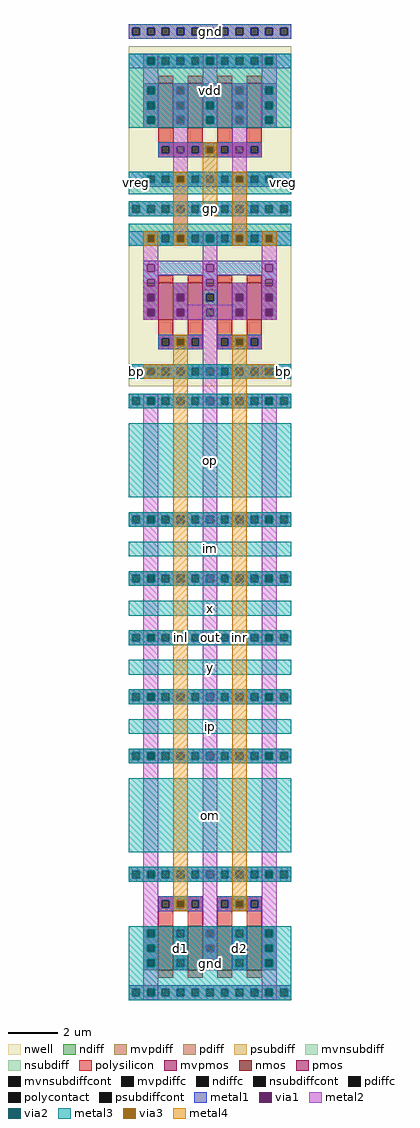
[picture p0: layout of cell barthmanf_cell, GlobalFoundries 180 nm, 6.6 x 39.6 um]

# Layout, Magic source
magic
tech gf180mcuC
<< nwell >>
rect -720 522 -588 642
rect -720 366 -588 498
<< nmos >>
rect -696 -108 -684 -72
rect -672 -108 -660 -72
rect -648 -108 -636 -72
rect -624 -108 -612 -72
<< pmos >>
rect -696 420 -684 450
rect -672 420 -660 450
rect -648 420 -636 450
rect -624 420 -612 450
<< mvpmos >>
rect -696 576 -684 612
rect -672 576 -660 612
rect -648 576 -636 612
rect -624 576 -612 612
<< ndiff >>
rect -708 -75 -696 -72
rect -708 -81 -705 -75
rect -699 -81 -696 -75
rect -708 -87 -696 -81
rect -708 -93 -705 -87
rect -699 -93 -696 -87
rect -708 -99 -696 -93
rect -708 -105 -705 -99
rect -699 -105 -696 -99
rect -708 -108 -696 -105
rect -684 -75 -672 -72
rect -684 -81 -681 -75
rect -675 -81 -672 -75
rect -684 -87 -672 -81
rect -684 -93 -681 -87
rect -675 -93 -672 -87
rect -684 -99 -672 -93
rect -684 -105 -681 -99
rect -675 -105 -672 -99
rect -684 -108 -672 -105
rect -660 -75 -648 -72
rect -660 -81 -657 -75
rect -651 -81 -648 -75
rect -660 -87 -648 -81
rect -660 -93 -657 -87
rect -651 -93 -648 -87
rect -660 -99 -648 -93
rect -660 -105 -657 -99
rect -651 -105 -648 -99
rect -660 -108 -648 -105
rect -636 -75 -624 -72
rect -636 -81 -633 -75
rect -627 -81 -624 -75
rect -636 -87 -624 -81
rect -636 -93 -633 -87
rect -627 -93 -624 -87
rect -636 -99 -624 -93
rect -636 -105 -633 -99
rect -627 -105 -624 -99
rect -636 -108 -624 -105
rect -612 -75 -600 -72
rect -612 -81 -609 -75
rect -603 -81 -600 -75
rect -612 -87 -600 -81
rect -612 -93 -609 -87
rect -603 -93 -600 -87
rect -612 -99 -600 -93
rect -612 -105 -609 -99
rect -603 -105 -600 -99
rect -612 -108 -600 -105
<< pdiff >>
rect -708 441 -696 450
rect -708 435 -705 441
rect -699 435 -696 441
rect -708 429 -696 435
rect -708 423 -705 429
rect -699 423 -696 429
rect -708 420 -696 423
rect -684 441 -672 450
rect -684 435 -681 441
rect -675 435 -672 441
rect -684 429 -672 435
rect -684 423 -681 429
rect -675 423 -672 429
rect -684 420 -672 423
rect -660 441 -648 450
rect -660 435 -657 441
rect -651 435 -648 441
rect -660 429 -648 435
rect -660 423 -657 429
rect -651 423 -648 429
rect -660 420 -648 423
rect -636 441 -624 450
rect -636 435 -633 441
rect -627 435 -624 441
rect -636 429 -624 435
rect -636 423 -633 429
rect -627 423 -624 429
rect -636 420 -624 423
rect -612 441 -600 450
rect -612 435 -609 441
rect -603 435 -600 441
rect -612 429 -600 435
rect -612 423 -609 429
rect -603 423 -600 429
rect -612 420 -600 423
<< mvpdiff >>
rect -708 609 -696 612
rect -708 603 -705 609
rect -699 603 -696 609
rect -708 597 -696 603
rect -708 591 -705 597
rect -699 591 -696 597
rect -708 585 -696 591
rect -708 579 -705 585
rect -699 579 -696 585
rect -708 576 -696 579
rect -684 609 -672 612
rect -684 603 -681 609
rect -675 603 -672 609
rect -684 597 -672 603
rect -684 591 -681 597
rect -675 591 -672 597
rect -684 585 -672 591
rect -684 579 -681 585
rect -675 579 -672 585
rect -684 576 -672 579
rect -660 609 -648 612
rect -660 603 -657 609
rect -651 603 -648 609
rect -660 597 -648 603
rect -660 591 -657 597
rect -651 591 -648 597
rect -660 585 -648 591
rect -660 579 -657 585
rect -651 579 -648 585
rect -660 576 -648 579
rect -636 609 -624 612
rect -636 603 -633 609
rect -627 603 -624 609
rect -636 597 -624 603
rect -636 591 -633 597
rect -627 591 -624 597
rect -636 585 -624 591
rect -636 579 -633 585
rect -627 579 -624 585
rect -636 576 -624 579
rect -612 609 -600 612
rect -612 603 -609 609
rect -603 603 -600 609
rect -612 597 -600 603
rect -612 591 -609 597
rect -603 591 -600 597
rect -612 585 -600 591
rect -612 579 -609 585
rect -603 579 -600 585
rect -612 576 -600 579
<< ndiffc >>
rect -705 -81 -699 -75
rect -705 -93 -699 -87
rect -705 -105 -699 -99
rect -681 -81 -675 -75
rect -681 -93 -675 -87
rect -681 -105 -675 -99
rect -657 -81 -651 -75
rect -657 -93 -651 -87
rect -657 -105 -651 -99
rect -633 -81 -627 -75
rect -633 -93 -627 -87
rect -633 -105 -627 -99
rect -609 -81 -603 -75
rect -609 -93 -603 -87
rect -609 -105 -603 -99
<< pdiffc >>
rect -705 435 -699 441
rect -705 423 -699 429
rect -681 435 -675 441
rect -681 423 -675 429
rect -657 435 -651 441
rect -657 423 -651 429
rect -633 435 -627 441
rect -633 423 -627 429
rect -609 435 -603 441
rect -609 423 -603 429
<< mvpdiffc >>
rect -705 603 -699 609
rect -705 591 -699 597
rect -705 579 -699 585
rect -681 603 -675 609
rect -681 591 -675 597
rect -681 579 -675 585
rect -657 603 -651 609
rect -657 591 -651 597
rect -657 579 -651 585
rect -633 603 -627 609
rect -633 591 -627 597
rect -633 579 -627 585
rect -609 603 -603 609
rect -609 591 -603 597
rect -609 579 -603 585
<< psubdiff >>
rect -720 657 -588 660
rect -720 651 -717 657
rect -711 651 -705 657
rect -699 651 -693 657
rect -687 651 -681 657
rect -675 651 -669 657
rect -663 651 -657 657
rect -651 651 -645 657
rect -639 651 -633 657
rect -627 651 -621 657
rect -615 651 -609 657
rect -603 651 -597 657
rect -591 651 -588 657
rect -720 648 -588 651
rect -720 513 -588 516
rect -720 507 -717 513
rect -711 507 -705 513
rect -699 507 -693 513
rect -687 507 -681 513
rect -675 507 -669 513
rect -663 507 -657 513
rect -651 507 -645 513
rect -639 507 -633 513
rect -627 507 -621 513
rect -615 507 -609 513
rect -603 507 -597 513
rect -591 507 -588 513
rect -720 504 -588 507
rect -720 357 -588 360
rect -720 351 -717 357
rect -711 351 -705 357
rect -699 351 -693 357
rect -687 351 -681 357
rect -675 351 -669 357
rect -663 351 -657 357
rect -651 351 -645 357
rect -639 351 -633 357
rect -627 351 -621 357
rect -615 351 -609 357
rect -603 351 -597 357
rect -591 351 -588 357
rect -720 348 -588 351
rect -720 261 -588 264
rect -720 255 -717 261
rect -711 255 -705 261
rect -699 255 -693 261
rect -687 255 -681 261
rect -675 255 -669 261
rect -663 255 -657 261
rect -651 255 -645 261
rect -639 255 -633 261
rect -627 255 -621 261
rect -615 255 -609 261
rect -603 255 -597 261
rect -591 255 -588 261
rect -720 252 -588 255
rect -720 213 -588 216
rect -720 207 -717 213
rect -711 207 -705 213
rect -699 207 -693 213
rect -687 207 -681 213
rect -675 207 -669 213
rect -663 207 -657 213
rect -651 207 -645 213
rect -639 207 -633 213
rect -627 207 -621 213
rect -615 207 -609 213
rect -603 207 -597 213
rect -591 207 -588 213
rect -720 204 -588 207
rect -720 165 -588 168
rect -720 159 -717 165
rect -711 159 -705 165
rect -699 159 -693 165
rect -687 159 -681 165
rect -675 159 -669 165
rect -663 159 -657 165
rect -651 159 -645 165
rect -639 159 -633 165
rect -627 159 -621 165
rect -615 159 -609 165
rect -603 159 -597 165
rect -591 159 -588 165
rect -720 156 -588 159
rect -720 117 -588 120
rect -720 111 -717 117
rect -711 111 -705 117
rect -699 111 -693 117
rect -687 111 -681 117
rect -675 111 -669 117
rect -663 111 -657 117
rect -651 111 -645 117
rect -639 111 -633 117
rect -627 111 -621 117
rect -615 111 -609 117
rect -603 111 -597 117
rect -591 111 -588 117
rect -720 108 -588 111
rect -720 69 -588 72
rect -720 63 -717 69
rect -711 63 -705 69
rect -699 63 -693 69
rect -687 63 -681 69
rect -675 63 -669 69
rect -663 63 -657 69
rect -651 63 -645 69
rect -639 63 -633 69
rect -627 63 -621 69
rect -615 63 -609 69
rect -603 63 -597 69
rect -591 63 -588 69
rect -720 60 -588 63
rect -720 -27 -588 -24
rect -720 -33 -717 -27
rect -711 -33 -705 -27
rect -699 -33 -693 -27
rect -687 -33 -681 -27
rect -675 -33 -669 -27
rect -663 -33 -657 -27
rect -651 -33 -645 -27
rect -639 -33 -633 -27
rect -627 -33 -621 -27
rect -615 -33 -609 -27
rect -603 -33 -597 -27
rect -591 -33 -588 -27
rect -720 -36 -588 -33
rect -720 -123 -588 -120
rect -720 -129 -717 -123
rect -711 -129 -705 -123
rect -699 -129 -693 -123
rect -687 -129 -681 -123
rect -675 -129 -669 -123
rect -663 -129 -657 -123
rect -651 -129 -645 -123
rect -639 -129 -633 -123
rect -627 -129 -621 -123
rect -615 -129 -609 -123
rect -603 -129 -597 -123
rect -591 -129 -588 -123
rect -720 -132 -588 -129
<< nsubdiff >>
rect -708 489 -600 492
rect -708 483 -705 489
rect -699 483 -693 489
rect -687 483 -681 489
rect -675 483 -669 489
rect -663 483 -657 489
rect -651 483 -645 489
rect -639 483 -633 489
rect -627 483 -621 489
rect -615 483 -609 489
rect -603 483 -600 489
rect -708 480 -600 483
rect -708 381 -600 384
rect -708 375 -705 381
rect -699 375 -693 381
rect -687 375 -681 381
rect -675 375 -669 381
rect -663 375 -657 381
rect -651 375 -645 381
rect -639 375 -633 381
rect -627 375 -621 381
rect -615 375 -609 381
rect -603 375 -600 381
rect -708 372 -600 375
<< mvnsubdiff >>
rect -708 633 -600 636
rect -708 627 -705 633
rect -699 627 -693 633
rect -687 627 -681 633
rect -675 627 -669 633
rect -663 627 -657 633
rect -651 627 -645 633
rect -639 627 -633 633
rect -627 627 -621 633
rect -615 627 -609 633
rect -603 627 -600 633
rect -708 624 -600 627
rect -708 537 -600 540
rect -708 531 -705 537
rect -699 531 -693 537
rect -687 531 -681 537
rect -675 531 -669 537
rect -663 531 -657 537
rect -651 531 -645 537
rect -639 531 -633 537
rect -627 531 -621 537
rect -615 531 -609 537
rect -603 531 -600 537
rect -708 528 -600 531
<< psubdiffcont >>
rect -717 651 -711 657
rect -705 651 -699 657
rect -693 651 -687 657
rect -681 651 -675 657
rect -669 651 -663 657
rect -657 651 -651 657
rect -645 651 -639 657
rect -633 651 -627 657
rect -621 651 -615 657
rect -609 651 -603 657
rect -597 651 -591 657
rect -717 507 -711 513
rect -705 507 -699 513
rect -693 507 -687 513
rect -681 507 -675 513
rect -669 507 -663 513
rect -657 507 -651 513
rect -645 507 -639 513
rect -633 507 -627 513
rect -621 507 -615 513
rect -609 507 -603 513
rect -597 507 -591 513
rect -717 351 -711 357
rect -705 351 -699 357
rect -693 351 -687 357
rect -681 351 -675 357
rect -669 351 -663 357
rect -657 351 -651 357
rect -645 351 -639 357
rect -633 351 -627 357
rect -621 351 -615 357
rect -609 351 -603 357
rect -597 351 -591 357
rect -717 255 -711 261
rect -705 255 -699 261
rect -693 255 -687 261
rect -681 255 -675 261
rect -669 255 -663 261
rect -657 255 -651 261
rect -645 255 -639 261
rect -633 255 -627 261
rect -621 255 -615 261
rect -609 255 -603 261
rect -597 255 -591 261
rect -717 207 -711 213
rect -705 207 -699 213
rect -693 207 -687 213
rect -681 207 -675 213
rect -669 207 -663 213
rect -657 207 -651 213
rect -645 207 -639 213
rect -633 207 -627 213
rect -621 207 -615 213
rect -609 207 -603 213
rect -597 207 -591 213
rect -717 159 -711 165
rect -705 159 -699 165
rect -693 159 -687 165
rect -681 159 -675 165
rect -669 159 -663 165
rect -657 159 -651 165
rect -645 159 -639 165
rect -633 159 -627 165
rect -621 159 -615 165
rect -609 159 -603 165
rect -597 159 -591 165
rect -717 111 -711 117
rect -705 111 -699 117
rect -693 111 -687 117
rect -681 111 -675 117
rect -669 111 -663 117
rect -657 111 -651 117
rect -645 111 -639 117
rect -633 111 -627 117
rect -621 111 -615 117
rect -609 111 -603 117
rect -597 111 -591 117
rect -717 63 -711 69
rect -705 63 -699 69
rect -693 63 -687 69
rect -681 63 -675 69
rect -669 63 -663 69
rect -657 63 -651 69
rect -645 63 -639 69
rect -633 63 -627 69
rect -621 63 -615 69
rect -609 63 -603 69
rect -597 63 -591 69
rect -717 -33 -711 -27
rect -705 -33 -699 -27
rect -693 -33 -687 -27
rect -681 -33 -675 -27
rect -669 -33 -663 -27
rect -657 -33 -651 -27
rect -645 -33 -639 -27
rect -633 -33 -627 -27
rect -621 -33 -615 -27
rect -609 -33 -603 -27
rect -597 -33 -591 -27
rect -717 -129 -711 -123
rect -705 -129 -699 -123
rect -693 -129 -687 -123
rect -681 -129 -675 -123
rect -669 -129 -663 -123
rect -657 -129 -651 -123
rect -645 -129 -639 -123
rect -633 -129 -627 -123
rect -621 -129 -615 -123
rect -609 -129 -603 -123
rect -597 -129 -591 -123
<< nsubdiffcont >>
rect -705 483 -699 489
rect -693 483 -687 489
rect -681 483 -675 489
rect -669 483 -663 489
rect -657 483 -651 489
rect -645 483 -639 489
rect -633 483 -627 489
rect -621 483 -615 489
rect -609 483 -603 489
rect -705 375 -699 381
rect -693 375 -687 381
rect -681 375 -675 381
rect -669 375 -663 381
rect -657 375 -651 381
rect -645 375 -639 381
rect -633 375 -627 381
rect -621 375 -615 381
rect -609 375 -603 381
<< mvnsubdiffcont >>
rect -705 627 -699 633
rect -693 627 -687 633
rect -681 627 -675 633
rect -669 627 -663 633
rect -657 627 -651 633
rect -645 627 -639 633
rect -633 627 -627 633
rect -621 627 -615 633
rect -609 627 -603 633
rect -705 531 -699 537
rect -693 531 -687 537
rect -681 531 -675 537
rect -669 531 -663 537
rect -657 531 -651 537
rect -645 531 -639 537
rect -633 531 -627 537
rect -621 531 -615 537
rect -609 531 -603 537
<< polysilicon >>
rect -696 612 -684 618
rect -672 612 -660 618
rect -648 612 -636 618
rect -624 612 -612 618
rect -696 564 -684 576
rect -672 564 -660 576
rect -648 564 -636 576
rect -624 564 -612 576
rect -696 561 -612 564
rect -696 555 -693 561
rect -687 555 -681 561
rect -675 555 -669 561
rect -663 555 -657 561
rect -651 555 -645 561
rect -639 555 -633 561
rect -627 555 -621 561
rect -615 555 -612 561
rect -696 552 -612 555
rect -696 450 -684 456
rect -672 450 -660 456
rect -648 450 -636 456
rect -624 450 -612 456
rect -696 408 -684 420
rect -672 408 -660 420
rect -696 405 -660 408
rect -696 399 -693 405
rect -687 399 -681 405
rect -675 399 -669 405
rect -663 399 -660 405
rect -696 396 -660 399
rect -648 408 -636 420
rect -624 408 -612 420
rect -648 405 -612 408
rect -648 399 -645 405
rect -639 399 -633 405
rect -627 399 -621 405
rect -615 399 -612 405
rect -648 396 -612 399
rect -696 -51 -660 -48
rect -696 -57 -693 -51
rect -687 -57 -681 -51
rect -675 -57 -669 -51
rect -663 -57 -660 -51
rect -696 -60 -660 -57
rect -696 -72 -684 -60
rect -672 -72 -660 -60
rect -648 -51 -612 -48
rect -648 -57 -645 -51
rect -639 -57 -633 -51
rect -627 -57 -621 -51
rect -615 -57 -612 -51
rect -648 -60 -612 -57
rect -648 -72 -636 -60
rect -624 -72 -612 -60
rect -696 -114 -684 -108
rect -672 -114 -660 -108
rect -648 -114 -636 -108
rect -624 -114 -612 -108
<< polycontact >>
rect -693 555 -687 561
rect -681 555 -675 561
rect -669 555 -663 561
rect -657 555 -651 561
rect -645 555 -639 561
rect -633 555 -627 561
rect -621 555 -615 561
rect -693 399 -687 405
rect -681 399 -675 405
rect -669 399 -663 405
rect -645 399 -639 405
rect -633 399 -627 405
rect -621 399 -615 405
rect -693 -57 -687 -51
rect -681 -57 -675 -51
rect -669 -57 -663 -51
rect -645 -57 -639 -51
rect -633 -57 -627 -51
rect -621 -57 -615 -51
<< metal1 >>
rect -720 657 -588 660
rect -720 651 -717 657
rect -711 651 -705 657
rect -699 651 -693 657
rect -687 651 -681 657
rect -675 651 -669 657
rect -663 651 -657 657
rect -651 651 -645 657
rect -639 651 -633 657
rect -627 651 -621 657
rect -615 651 -609 657
rect -603 651 -597 657
rect -591 651 -588 657
rect -720 648 -588 651
rect -720 633 -588 636
rect -720 627 -705 633
rect -699 627 -693 633
rect -687 627 -681 633
rect -675 627 -669 633
rect -663 627 -657 633
rect -651 627 -645 633
rect -639 627 -633 633
rect -627 627 -621 633
rect -615 627 -609 633
rect -603 627 -588 633
rect -720 624 -588 627
rect -708 609 -696 612
rect -708 603 -705 609
rect -699 603 -696 609
rect -708 597 -696 603
rect -708 591 -705 597
rect -699 591 -696 597
rect -708 585 -696 591
rect -708 579 -705 585
rect -699 579 -696 585
rect -708 576 -696 579
rect -684 609 -672 612
rect -684 603 -681 609
rect -675 603 -672 609
rect -684 597 -672 603
rect -684 591 -681 597
rect -675 591 -672 597
rect -684 585 -672 591
rect -684 579 -681 585
rect -675 579 -672 585
rect -684 576 -672 579
rect -660 609 -648 612
rect -660 603 -657 609
rect -651 603 -648 609
rect -660 597 -648 603
rect -660 591 -657 597
rect -651 591 -648 597
rect -660 585 -648 591
rect -660 579 -657 585
rect -651 579 -648 585
rect -660 576 -648 579
rect -636 609 -624 612
rect -636 603 -633 609
rect -627 603 -624 609
rect -636 597 -624 603
rect -636 591 -633 597
rect -627 591 -624 597
rect -636 585 -624 591
rect -636 579 -633 585
rect -627 579 -624 585
rect -636 576 -624 579
rect -612 609 -600 612
rect -612 603 -609 609
rect -603 603 -600 609
rect -612 597 -600 603
rect -612 591 -609 597
rect -603 591 -600 597
rect -612 585 -600 591
rect -612 579 -609 585
rect -603 579 -600 585
rect -612 576 -600 579
rect -696 561 -612 564
rect -696 555 -693 561
rect -687 555 -681 561
rect -675 555 -669 561
rect -663 555 -657 561
rect -651 555 -645 561
rect -639 555 -633 561
rect -627 555 -621 561
rect -615 555 -612 561
rect -696 552 -612 555
rect -720 537 -588 540
rect -720 531 -705 537
rect -699 531 -693 537
rect -687 531 -681 537
rect -675 531 -669 537
rect -663 531 -657 537
rect -651 531 -645 537
rect -639 531 -633 537
rect -627 531 -621 537
rect -615 531 -609 537
rect -603 531 -588 537
rect -720 528 -588 531
rect -720 513 -588 516
rect -720 507 -717 513
rect -711 507 -705 513
rect -699 507 -693 513
rect -687 507 -681 513
rect -675 507 -669 513
rect -663 507 -657 513
rect -651 507 -645 513
rect -639 507 -633 513
rect -627 507 -621 513
rect -615 507 -609 513
rect -603 507 -597 513
rect -591 507 -588 513
rect -720 504 -588 507
rect -720 489 -588 492
rect -720 483 -705 489
rect -699 483 -693 489
rect -687 483 -681 489
rect -675 483 -669 489
rect -663 483 -657 489
rect -651 483 -645 489
rect -639 483 -633 489
rect -627 483 -621 489
rect -615 483 -609 489
rect -603 483 -588 489
rect -720 480 -588 483
rect -708 465 -600 468
rect -708 459 -705 465
rect -699 459 -657 465
rect -651 459 -609 465
rect -603 459 -600 465
rect -708 456 -600 459
rect -708 453 -696 456
rect -708 447 -705 453
rect -699 447 -696 453
rect -660 453 -648 456
rect -708 441 -696 447
rect -708 435 -705 441
rect -699 435 -696 441
rect -708 429 -696 435
rect -708 423 -705 429
rect -699 423 -696 429
rect -708 420 -696 423
rect -684 441 -672 450
rect -684 435 -681 441
rect -675 435 -672 441
rect -684 429 -672 435
rect -684 423 -681 429
rect -675 423 -672 429
rect -684 420 -672 423
rect -660 447 -657 453
rect -651 447 -648 453
rect -612 453 -600 456
rect -660 441 -648 447
rect -660 435 -657 441
rect -651 435 -648 441
rect -660 429 -648 435
rect -660 423 -657 429
rect -651 423 -648 429
rect -660 420 -648 423
rect -636 441 -624 450
rect -636 435 -633 441
rect -627 435 -624 441
rect -636 429 -624 435
rect -636 423 -633 429
rect -627 423 -624 429
rect -636 420 -624 423
rect -612 447 -609 453
rect -603 447 -600 453
rect -612 441 -600 447
rect -612 435 -609 441
rect -603 435 -600 441
rect -612 429 -600 435
rect -612 423 -609 429
rect -603 423 -600 429
rect -612 420 -600 423
rect -696 405 -660 408
rect -696 399 -693 405
rect -687 399 -681 405
rect -675 399 -669 405
rect -663 399 -660 405
rect -696 396 -660 399
rect -648 405 -612 408
rect -648 399 -645 405
rect -639 399 -633 405
rect -627 399 -621 405
rect -615 399 -612 405
rect -648 396 -612 399
rect -720 381 -588 384
rect -720 375 -705 381
rect -699 375 -693 381
rect -687 375 -681 381
rect -675 375 -669 381
rect -663 375 -657 381
rect -651 375 -645 381
rect -639 375 -633 381
rect -627 375 -621 381
rect -615 375 -609 381
rect -603 375 -588 381
rect -720 372 -588 375
rect -720 357 -588 360
rect -720 351 -717 357
rect -711 351 -705 357
rect -699 351 -693 357
rect -687 351 -681 357
rect -675 351 -669 357
rect -663 351 -657 357
rect -651 351 -645 357
rect -639 351 -633 357
rect -627 351 -621 357
rect -615 351 -609 357
rect -603 351 -597 357
rect -591 351 -588 357
rect -720 348 -588 351
rect -720 261 -588 264
rect -720 255 -717 261
rect -711 255 -705 261
rect -699 255 -693 261
rect -687 255 -681 261
rect -675 255 -669 261
rect -663 255 -657 261
rect -651 255 -645 261
rect -639 255 -633 261
rect -627 255 -621 261
rect -615 255 -609 261
rect -603 255 -597 261
rect -591 255 -588 261
rect -720 252 -588 255
rect -720 213 -588 216
rect -720 207 -717 213
rect -711 207 -705 213
rect -699 207 -693 213
rect -687 207 -681 213
rect -675 207 -669 213
rect -663 207 -657 213
rect -651 207 -645 213
rect -639 207 -633 213
rect -627 207 -621 213
rect -615 207 -609 213
rect -603 207 -597 213
rect -591 207 -588 213
rect -720 204 -588 207
rect -720 165 -588 168
rect -720 159 -717 165
rect -711 159 -705 165
rect -699 159 -693 165
rect -687 159 -681 165
rect -675 159 -669 165
rect -663 159 -657 165
rect -651 159 -645 165
rect -639 159 -633 165
rect -627 159 -621 165
rect -615 159 -609 165
rect -603 159 -597 165
rect -591 159 -588 165
rect -720 156 -588 159
rect -720 117 -588 120
rect -720 111 -717 117
rect -711 111 -705 117
rect -699 111 -693 117
rect -687 111 -681 117
rect -675 111 -669 117
rect -663 111 -657 117
rect -651 111 -645 117
rect -639 111 -633 117
rect -627 111 -621 117
rect -615 111 -609 117
rect -603 111 -597 117
rect -591 111 -588 117
rect -720 108 -588 111
rect -720 69 -588 72
rect -720 63 -717 69
rect -711 63 -705 69
rect -699 63 -693 69
rect -687 63 -681 69
rect -675 63 -669 69
rect -663 63 -657 69
rect -651 63 -645 69
rect -639 63 -633 69
rect -627 63 -621 69
rect -615 63 -609 69
rect -603 63 -597 69
rect -591 63 -588 69
rect -720 60 -588 63
rect -720 -27 -588 -24
rect -720 -33 -717 -27
rect -711 -33 -705 -27
rect -699 -33 -693 -27
rect -687 -33 -681 -27
rect -675 -33 -669 -27
rect -663 -33 -657 -27
rect -651 -33 -645 -27
rect -639 -33 -633 -27
rect -627 -33 -621 -27
rect -615 -33 -609 -27
rect -603 -33 -597 -27
rect -591 -33 -588 -27
rect -720 -36 -588 -33
rect -696 -51 -660 -48
rect -696 -57 -693 -51
rect -687 -57 -681 -51
rect -675 -57 -669 -51
rect -663 -57 -660 -51
rect -696 -60 -660 -57
rect -648 -51 -612 -48
rect -648 -57 -645 -51
rect -639 -57 -633 -51
rect -627 -57 -621 -51
rect -615 -57 -612 -51
rect -648 -60 -612 -57
rect -708 -75 -696 -72
rect -708 -81 -705 -75
rect -699 -81 -696 -75
rect -708 -87 -696 -81
rect -708 -93 -705 -87
rect -699 -93 -696 -87
rect -708 -99 -696 -93
rect -708 -105 -705 -99
rect -699 -105 -696 -99
rect -708 -108 -696 -105
rect -684 -75 -672 -72
rect -684 -81 -681 -75
rect -675 -81 -672 -75
rect -684 -87 -672 -81
rect -684 -93 -681 -87
rect -675 -93 -672 -87
rect -684 -99 -672 -93
rect -684 -105 -681 -99
rect -675 -105 -672 -99
rect -684 -108 -672 -105
rect -660 -75 -648 -72
rect -660 -81 -657 -75
rect -651 -81 -648 -75
rect -660 -87 -648 -81
rect -660 -93 -657 -87
rect -651 -93 -648 -87
rect -660 -99 -648 -93
rect -660 -105 -657 -99
rect -651 -105 -648 -99
rect -660 -108 -648 -105
rect -636 -75 -624 -72
rect -636 -81 -633 -75
rect -627 -81 -624 -75
rect -636 -87 -624 -81
rect -636 -93 -633 -87
rect -627 -93 -624 -87
rect -636 -99 -624 -93
rect -636 -105 -633 -99
rect -627 -105 -624 -99
rect -636 -108 -624 -105
rect -612 -75 -600 -72
rect -612 -81 -609 -75
rect -603 -81 -600 -75
rect -612 -87 -600 -81
rect -612 -93 -609 -87
rect -603 -93 -600 -87
rect -612 -99 -600 -93
rect -612 -105 -609 -99
rect -603 -105 -600 -99
rect -612 -108 -600 -105
rect -720 -123 -588 -120
rect -720 -129 -717 -123
rect -711 -129 -705 -123
rect -699 -129 -693 -123
rect -687 -129 -681 -123
rect -675 -129 -669 -123
rect -663 -129 -657 -123
rect -651 -129 -645 -123
rect -639 -129 -633 -123
rect -627 -129 -621 -123
rect -615 -129 -609 -123
rect -603 -129 -597 -123
rect -591 -129 -588 -123
rect -720 -132 -588 -129
<< via1 >>
rect -705 627 -699 633
rect -657 627 -651 633
rect -609 627 -603 633
rect -705 603 -699 609
rect -705 591 -699 597
rect -705 579 -699 585
rect -681 603 -675 609
rect -681 591 -675 597
rect -681 579 -675 585
rect -657 603 -651 609
rect -657 591 -651 597
rect -657 579 -651 585
rect -633 603 -627 609
rect -633 591 -627 597
rect -633 579 -627 585
rect -609 603 -603 609
rect -609 591 -603 597
rect -609 579 -603 585
rect -657 555 -651 561
rect -705 459 -699 465
rect -657 459 -651 465
rect -609 459 -603 465
rect -705 447 -699 453
rect -705 435 -699 441
rect -705 423 -699 429
rect -681 435 -675 441
rect -681 423 -675 429
rect -657 447 -651 453
rect -633 435 -627 441
rect -633 423 -627 429
rect -609 447 -603 453
rect -609 435 -603 441
rect -609 423 -603 429
rect -681 399 -675 405
rect -633 399 -627 405
rect -705 375 -699 381
rect -609 375 -603 381
rect -705 351 -699 357
rect -609 351 -603 357
rect -705 255 -699 261
rect -609 255 -603 261
rect -705 207 -699 213
rect -609 207 -603 213
rect -705 159 -699 165
rect -609 159 -603 165
rect -705 111 -699 117
rect -609 111 -603 117
rect -705 63 -699 69
rect -609 63 -603 69
rect -705 -33 -699 -27
rect -609 -33 -603 -27
rect -681 -57 -675 -51
rect -633 -57 -627 -51
rect -705 -81 -699 -75
rect -705 -93 -699 -87
rect -705 -105 -699 -99
rect -657 -81 -651 -75
rect -657 -93 -651 -87
rect -657 -105 -651 -99
rect -609 -81 -603 -75
rect -609 -93 -603 -87
rect -609 -105 -603 -99
rect -705 -129 -699 -123
rect -609 -129 -603 -123
<< metal2 >>
rect -708 633 -696 636
rect -708 627 -705 633
rect -699 627 -696 633
rect -708 609 -696 627
rect -660 633 -648 636
rect -660 627 -657 633
rect -651 627 -648 633
rect -708 603 -705 609
rect -699 603 -696 609
rect -708 597 -696 603
rect -708 591 -705 597
rect -699 591 -696 597
rect -708 585 -696 591
rect -708 579 -705 585
rect -699 579 -696 585
rect -708 576 -696 579
rect -684 609 -672 612
rect -684 603 -681 609
rect -675 603 -672 609
rect -684 597 -672 603
rect -684 591 -681 597
rect -675 591 -672 597
rect -684 585 -672 591
rect -684 579 -681 585
rect -675 579 -672 585
rect -684 537 -672 579
rect -660 609 -648 627
rect -612 633 -600 636
rect -612 627 -609 633
rect -603 627 -600 633
rect -660 603 -657 609
rect -651 603 -648 609
rect -660 597 -648 603
rect -660 591 -657 597
rect -651 591 -648 597
rect -660 585 -648 591
rect -660 579 -657 585
rect -651 579 -648 585
rect -660 576 -648 579
rect -636 609 -624 612
rect -636 603 -633 609
rect -627 603 -624 609
rect -636 597 -624 603
rect -636 591 -633 597
rect -627 591 -624 597
rect -636 585 -624 591
rect -636 579 -633 585
rect -627 579 -624 585
rect -660 561 -648 564
rect -660 555 -657 561
rect -651 555 -648 561
rect -660 552 -648 555
rect -684 531 -681 537
rect -675 531 -672 537
rect -708 489 -696 492
rect -708 483 -705 489
rect -699 483 -696 489
rect -708 465 -696 483
rect -684 489 -672 531
rect -636 537 -624 579
rect -612 609 -600 627
rect -612 603 -609 609
rect -603 603 -600 609
rect -612 597 -600 603
rect -612 591 -609 597
rect -603 591 -600 597
rect -612 585 -600 591
rect -612 579 -609 585
rect -603 579 -600 585
rect -612 576 -600 579
rect -636 531 -633 537
rect -627 531 -624 537
rect -684 483 -681 489
rect -675 483 -672 489
rect -684 480 -672 483
rect -660 489 -648 492
rect -660 483 -657 489
rect -651 483 -648 489
rect -708 459 -705 465
rect -699 459 -696 465
rect -708 453 -696 459
rect -708 447 -705 453
rect -699 447 -696 453
rect -660 465 -648 483
rect -636 489 -624 531
rect -636 483 -633 489
rect -627 483 -624 489
rect -636 480 -624 483
rect -612 489 -600 492
rect -612 483 -609 489
rect -603 483 -600 489
rect -660 459 -657 465
rect -651 459 -648 465
rect -660 453 -648 459
rect -708 441 -696 447
rect -708 435 -705 441
rect -699 435 -696 441
rect -708 429 -696 435
rect -708 423 -705 429
rect -699 423 -696 429
rect -708 420 -696 423
rect -684 441 -672 450
rect -660 447 -657 453
rect -651 447 -648 453
rect -612 465 -600 483
rect -612 459 -609 465
rect -603 459 -600 465
rect -612 453 -600 459
rect -660 444 -648 447
rect -684 435 -681 441
rect -675 435 -672 441
rect -684 432 -672 435
rect -636 441 -624 450
rect -636 435 -633 441
rect -627 435 -624 441
rect -636 432 -624 435
rect -684 429 -624 432
rect -684 423 -681 429
rect -675 423 -633 429
rect -627 423 -624 429
rect -684 420 -624 423
rect -612 447 -609 453
rect -603 447 -600 453
rect -612 441 -600 447
rect -612 435 -609 441
rect -603 435 -600 441
rect -612 429 -600 435
rect -612 423 -609 429
rect -603 423 -600 429
rect -612 420 -600 423
rect -684 405 -672 408
rect -684 399 -681 405
rect -675 399 -672 405
rect -684 396 -672 399
rect -708 381 -696 384
rect -708 375 -705 381
rect -699 375 -696 381
rect -708 372 -696 375
rect -708 357 -696 360
rect -708 351 -705 357
rect -699 351 -696 357
rect -708 261 -696 351
rect -708 255 -705 261
rect -699 255 -696 261
rect -708 213 -696 255
rect -708 207 -705 213
rect -699 207 -696 213
rect -708 165 -696 207
rect -708 159 -705 165
rect -699 159 -696 165
rect -708 117 -696 159
rect -708 111 -705 117
rect -699 111 -696 117
rect -708 69 -696 111
rect -708 63 -705 69
rect -699 63 -696 69
rect -708 -27 -696 63
rect -708 -33 -705 -27
rect -699 -33 -696 -27
rect -708 -75 -696 -33
rect -684 -51 -672 -48
rect -684 -57 -681 -51
rect -675 -57 -672 -51
rect -684 -60 -672 -57
rect -708 -81 -705 -75
rect -699 -81 -696 -75
rect -708 -87 -696 -81
rect -708 -93 -705 -87
rect -699 -93 -696 -87
rect -708 -99 -696 -93
rect -708 -105 -705 -99
rect -699 -105 -696 -99
rect -708 -123 -696 -105
rect -660 -75 -648 420
rect -636 405 -624 408
rect -636 399 -633 405
rect -627 399 -624 405
rect -636 396 -624 399
rect -612 381 -600 384
rect -612 375 -609 381
rect -603 375 -600 381
rect -612 372 -600 375
rect -612 357 -600 360
rect -612 351 -609 357
rect -603 351 -600 357
rect -612 261 -600 351
rect -612 255 -609 261
rect -603 255 -600 261
rect -612 213 -600 255
rect -612 207 -609 213
rect -603 207 -600 213
rect -612 165 -600 207
rect -612 159 -609 165
rect -603 159 -600 165
rect -612 117 -600 159
rect -612 111 -609 117
rect -603 111 -600 117
rect -612 69 -600 111
rect -612 63 -609 69
rect -603 63 -600 69
rect -612 -27 -600 63
rect -612 -33 -609 -27
rect -603 -33 -600 -27
rect -636 -51 -624 -48
rect -636 -57 -633 -51
rect -627 -57 -624 -51
rect -636 -60 -624 -57
rect -660 -81 -657 -75
rect -651 -81 -648 -75
rect -660 -87 -648 -81
rect -660 -93 -657 -87
rect -651 -93 -648 -87
rect -660 -99 -648 -93
rect -660 -105 -657 -99
rect -651 -105 -648 -99
rect -660 -108 -648 -105
rect -612 -75 -600 -33
rect -612 -81 -609 -75
rect -603 -81 -600 -75
rect -612 -87 -600 -81
rect -612 -93 -609 -87
rect -603 -93 -600 -87
rect -612 -99 -600 -93
rect -612 -105 -609 -99
rect -603 -105 -600 -99
rect -708 -129 -705 -123
rect -699 -129 -696 -123
rect -708 -132 -696 -129
rect -612 -123 -600 -105
rect -612 -129 -609 -123
rect -603 -129 -600 -123
rect -612 -132 -600 -129
<< via2 >>
rect -705 627 -699 633
rect -657 627 -651 633
rect -705 603 -699 609
rect -705 591 -699 597
rect -705 579 -699 585
rect -609 627 -603 633
rect -657 603 -651 609
rect -657 591 -651 597
rect -657 579 -651 585
rect -657 555 -651 561
rect -681 531 -675 537
rect -705 483 -699 489
rect -609 603 -603 609
rect -609 591 -603 597
rect -609 579 -603 585
rect -633 531 -627 537
rect -681 483 -675 489
rect -657 483 -651 489
rect -633 483 -627 489
rect -609 483 -603 489
rect -681 399 -675 405
rect -705 375 -699 381
rect -705 351 -699 357
rect -705 255 -699 261
rect -705 207 -699 213
rect -705 159 -699 165
rect -705 111 -699 117
rect -705 63 -699 69
rect -705 -33 -699 -27
rect -681 -57 -675 -51
rect -705 -81 -699 -75
rect -705 -93 -699 -87
rect -705 -105 -699 -99
rect -633 399 -627 405
rect -609 375 -603 381
rect -609 351 -603 357
rect -609 255 -603 261
rect -609 207 -603 213
rect -609 159 -603 165
rect -609 111 -603 117
rect -609 63 -603 69
rect -609 -33 -603 -27
rect -633 -57 -627 -51
rect -609 -81 -603 -75
rect -609 -93 -603 -87
rect -609 -105 -603 -99
rect -705 -129 -699 -123
rect -609 -129 -603 -123
<< metal3 >>
rect -720 633 -588 636
rect -720 627 -705 633
rect -699 627 -657 633
rect -651 627 -609 633
rect -603 627 -588 633
rect -720 609 -588 627
rect -720 603 -705 609
rect -699 603 -657 609
rect -651 603 -609 609
rect -603 603 -588 609
rect -720 597 -588 603
rect -720 591 -705 597
rect -699 591 -657 597
rect -651 591 -609 597
rect -603 591 -588 597
rect -720 585 -588 591
rect -720 579 -705 585
rect -699 579 -657 585
rect -651 579 -609 585
rect -603 579 -588 585
rect -720 576 -588 579
rect -660 561 -648 564
rect -660 555 -657 561
rect -651 555 -648 561
rect -660 552 -648 555
rect -720 537 -588 540
rect -720 531 -681 537
rect -675 531 -633 537
rect -627 531 -588 537
rect -720 522 -588 531
rect -720 513 -588 516
rect -720 507 -657 513
rect -651 507 -588 513
rect -720 504 -588 507
rect -720 489 -588 498
rect -720 483 -705 489
rect -699 483 -681 489
rect -675 483 -657 489
rect -651 483 -633 489
rect -627 483 -609 489
rect -603 483 -588 489
rect -720 480 -588 483
rect -684 405 -672 408
rect -684 399 -681 405
rect -675 399 -672 405
rect -684 396 -672 399
rect -636 405 -624 408
rect -636 399 -633 405
rect -627 399 -624 405
rect -636 396 -624 399
rect -720 381 -588 384
rect -720 375 -705 381
rect -699 375 -609 381
rect -603 375 -588 381
rect -720 372 -588 375
rect -720 357 -588 360
rect -720 351 -705 357
rect -699 351 -609 357
rect -603 351 -588 357
rect -720 348 -588 351
rect -720 276 -588 336
rect -720 261 -588 264
rect -720 255 -705 261
rect -699 255 -609 261
rect -603 255 -588 261
rect -720 252 -588 255
rect -720 228 -588 240
rect -720 213 -588 216
rect -720 207 -705 213
rect -699 207 -609 213
rect -603 207 -588 213
rect -720 204 -588 207
rect -720 180 -588 192
rect -720 165 -588 168
rect -720 159 -705 165
rect -699 159 -609 165
rect -603 159 -588 165
rect -720 156 -588 159
rect -720 132 -588 144
rect -720 117 -588 120
rect -720 111 -705 117
rect -699 111 -609 117
rect -603 111 -588 117
rect -720 108 -588 111
rect -720 84 -588 96
rect -720 69 -588 72
rect -720 63 -705 69
rect -699 63 -609 69
rect -603 63 -588 69
rect -720 60 -588 63
rect -720 -12 -588 48
rect -720 -27 -588 -24
rect -720 -33 -705 -27
rect -699 -33 -609 -27
rect -603 -33 -588 -27
rect -720 -36 -588 -33
rect -684 -51 -672 -48
rect -684 -57 -681 -51
rect -675 -57 -672 -51
rect -684 -60 -672 -57
rect -636 -51 -624 -48
rect -636 -57 -633 -51
rect -627 -57 -624 -51
rect -636 -60 -624 -57
rect -720 -75 -588 -72
rect -720 -81 -705 -75
rect -699 -81 -609 -75
rect -603 -81 -588 -75
rect -720 -87 -588 -81
rect -720 -93 -705 -87
rect -699 -93 -609 -87
rect -603 -93 -588 -87
rect -720 -99 -588 -93
rect -720 -105 -705 -99
rect -699 -105 -609 -99
rect -603 -105 -588 -99
rect -720 -123 -588 -105
rect -720 -129 -705 -123
rect -699 -129 -609 -123
rect -603 -129 -588 -123
rect -720 -132 -588 -129
<< via3 >>
rect -657 555 -651 561
rect -681 531 -675 537
rect -633 531 -627 537
rect -657 507 -651 513
rect -705 483 -699 489
rect -681 483 -675 489
rect -633 483 -627 489
rect -609 483 -603 489
rect -681 399 -675 405
rect -633 399 -627 405
rect -681 -57 -675 -51
rect -633 -57 -627 -51
<< metal4 >>
rect -660 561 -648 564
rect -660 555 -657 561
rect -651 555 -648 561
rect -684 537 -672 540
rect -684 531 -681 537
rect -675 531 -672 537
rect -708 489 -696 492
rect -708 483 -705 489
rect -699 483 -696 489
rect -708 480 -696 483
rect -684 489 -672 531
rect -660 513 -648 555
rect -660 507 -657 513
rect -651 507 -648 513
rect -660 504 -648 507
rect -636 537 -624 540
rect -636 531 -633 537
rect -627 531 -624 537
rect -684 483 -681 489
rect -675 483 -672 489
rect -684 480 -672 483
rect -636 489 -624 531
rect -636 483 -633 489
rect -627 483 -624 489
rect -636 480 -624 483
rect -612 489 -600 492
rect -612 483 -609 489
rect -603 483 -600 489
rect -612 480 -600 483
rect -684 405 -672 408
rect -684 399 -681 405
rect -675 399 -672 405
rect -684 384 -672 399
rect -708 372 -672 384
rect -684 -51 -672 372
rect -684 -57 -681 -51
rect -675 -57 -672 -51
rect -684 -60 -672 -57
rect -636 405 -624 408
rect -636 399 -633 405
rect -627 399 -624 405
rect -636 384 -624 399
rect -636 372 -600 384
rect -636 -51 -624 372
rect -636 -57 -633 -51
rect -627 -57 -624 -51
rect -636 -60 -624 -57
<< labels >>
rlabel metal4 -684 -12 -672 336 0 inl
port 1 nsew
rlabel metal4 -636 -12 -624 336 0 inr
port 2 nsew
rlabel metal2 -660 -12 -648 336 0 out
port 3 nsew
rlabel metal3 -720 576 -588 636 0 vdd
port 4 nsew
rlabel metal3 -720 504 -588 516 0 gp
port 5 nsew
rlabel metal1 -720 372 -708 384 0 bp
port 6 nsew
rlabel metal1 -600 372 -588 384 0 bp
port 6 nsew
rlabel metal3 -720 522 -708 540 0 vreg
port 7 nsew
rlabel metal3 -600 522 -588 540 0 vreg
port 7 nsew
rlabel metal3 -720 276 -588 336 0 op
port 8 nsew
rlabel metal3 -720 228 -588 240 0 im
port 9 nsew
rlabel metal3 -720 180 -588 192 0 x
port 10 nsew
rlabel metal3 -720 132 -588 144 0 y
port 11 nsew
rlabel metal3 -720 84 -588 96 0 ip
port 12 nsew
rlabel metal3 -720 -12 -588 48 0 om
port 13 nsew
rlabel metal3 -720 -132 -588 -72 0 gnd
port 14 nsew
rlabel metal1 -684 -108 -672 -72 0 d1
rlabel metal1 -636 -108 -624 -72 0 d2
rlabel metal1 -720 648 -588 660 0 gnd
rlabel metal1 -720 504 -588 516 0 gnd
<< end >>
